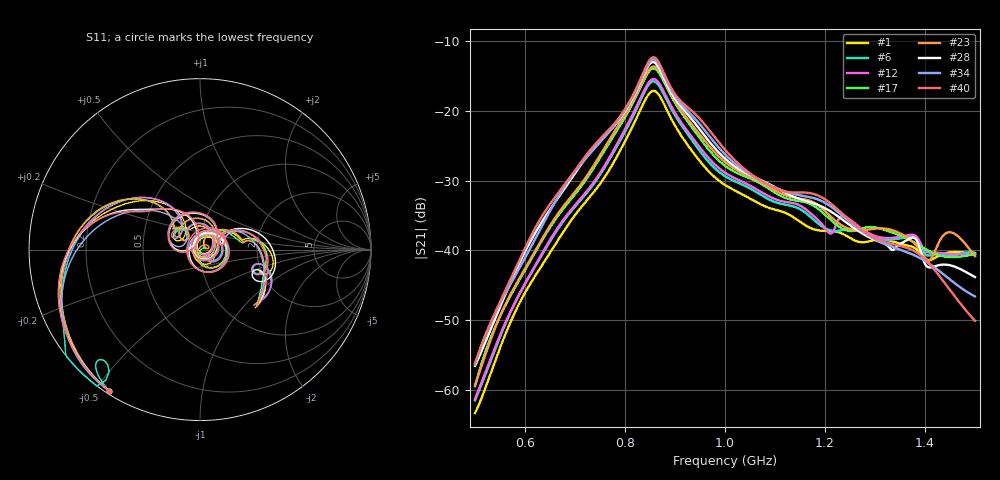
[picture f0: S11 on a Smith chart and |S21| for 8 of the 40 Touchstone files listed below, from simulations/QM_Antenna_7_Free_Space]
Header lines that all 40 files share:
! TOUCHSTONE file generated by CST MICROWAVE STUDIO
! Project name: Scenario_1_Free_Space_out_of_line.cst
! Header version: 2018
! Port assignment regex: !\s*Touchstone port\s*([0-9]+)\s*=\s*(CST MWS port|CST DS port)\s*([0-9]+|Zmin|Zmax)\s*\(\"(.*)\"\)(\s*mode\s*([0-9]+))?.*
! Touchstone port assignment:
! Touchstone port 1 = CST MWS port 1 ("")
! Touchstone port 2 = CST MWS port 2 ("")
# GHz S DB R 50
Fixed: Lambda = 346.42, Step_1 = 17.321, L_HA = 400, MT = 2.54, Rad_Dielectric = 30, Rad_Lower = 7.3, Rad_Upper = 30, a_HA = 580, a_WG = 246, b_HA = 500, b_WG = 121, c_HA = 0, c_WG = 187, d_feed = 85, h_feed = 15, h_lower = 18, h_upper = 40
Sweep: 500 MHz to 1.5 GHz
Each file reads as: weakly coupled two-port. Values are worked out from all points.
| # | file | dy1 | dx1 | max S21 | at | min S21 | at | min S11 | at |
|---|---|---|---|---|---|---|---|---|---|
| 1 | 12_4.s2p | 156.889 | 693 | -17.11 dB | 857 MHz | -63.3 dB | 500 MHz | -39.9 dB | 920 MHz |
| 2 | 12_5.s2p | 156.889 | 866 | -17.83 dB | 857 MHz | -63.8 dB | 500 MHz | -44.7 dB | 917 MHz |
| 3 | 12_6.s2p | 156.889 | 1039 | -18.25 dB | 858 MHz | -64.3 dB | 500 MHz | -50.5 dB | 914 MHz |
| 4 | 13_1.s2p | 139.548 | 173 | -15.31 dB | 854 MHz | -57.9 dB | 500 MHz | -34.5 dB | 926 MHz |
| 5 | 13_2.s2p | 139.548 | 346 | -14.75 dB | 856 MHz | -59.9 dB | 500 MHz | -34.1 dB | 1.156 GHz |
| 6 | 13_3.s2p | 139.548 | 520 | -15.74 dB | 857 MHz | -61.5 dB | 500 MHz | -35.1 dB | 923 MHz |
| 7 | 13_4.s2p | 139.548 | 693 | -16.98 dB | 861 MHz | -62.9 dB | 500 MHz | -40.0 dB | 921 MHz |
| 8 | 13_5.s2p | 139.548 | 866 | -17.76 dB | 857 MHz | -63.7 dB | 504 MHz | -45.2 dB | 918 MHz |
| 9 | 13_6.s2p | 139.548 | 1039 | -18.27 dB | 857 MHz | -64.1 dB | 500 MHz | -52.0 dB | 916 MHz |
| 10 | 14_1.s2p | 122.207 | 173 | -14.61 dB | 856 MHz | -57.5 dB | 500 MHz | -32.8 dB | 929 MHz |
| 11 | 14_2.s2p | 122.207 | 346 | -14.33 dB | 857 MHz | -59.7 dB | 500 MHz | -31.4 dB | 1.156 GHz |
| 12 | 14_3.s2p | 122.207 | 520 | -15.42 dB | 857 MHz | -61.3 dB | 500 MHz | -34.5 dB | 924 MHz |
| 13 | 14_4.s2p | 122.207 | 693 | -16.72 dB | 858 MHz | -62.7 dB | 500 MHz | -31.8 dB | 1.022 GHz |
| 14 | 14_5.s2p | 122.207 | 866 | -17.70 dB | 858 MHz | -63.5 dB | 500 MHz | -44.3 dB | 918 MHz |
| 15 | 14_6.s2p | 122.207 | 1039 | -18.32 dB | 858 MHz | -64.0 dB | 500 MHz | -53.2 dB | 1.145 GHz |
| 16 | 15_1.s2p | 104.866 | 173 | -13.98 dB | 856 MHz | -57.2 dB | 500 MHz | -31.1 dB | 932 MHz |
| 17 | 15_2.s2p | 104.866 | 346 | -13.91 dB | 857 MHz | -59.5 dB | 500 MHz | -47.1 dB | 1.104 GHz |
| 18 | 15_3.s2p | 104.866 | 520 | -15.16 dB | 858 MHz | -61.2 dB | 500 MHz | -34.6 dB | 926 MHz |
| 19 | 15_4.s2p | 104.866 | 693 | -16.55 dB | 857 MHz | -62.6 dB | 500 MHz | -40.3 dB | 929 MHz |
| 20 | 15_5.s2p | 104.866 | 866 | -17.69 dB | 862 MHz | -63.8 dB | 508 MHz | -44.6 dB | 920 MHz |
| 21 | 15_6.s2p | 104.866 | 1039 | -18.37 dB | 857 MHz | -64.3 dB | 507 MHz | -54.4 dB | 1.143 GHz |
| 22 | 16_1.s2p | 87.525 | 173 | -13.47 dB | 856 MHz | -56.9 dB | 500 MHz | -29.7 dB | 935 MHz |
| 23 | 16_2.s2p | 87.525 | 346 | -13.62 dB | 858 MHz | -59.3 dB | 500 MHz | -41.1 dB | 1.103 GHz |
| 24 | 16_3.s2p | 87.525 | 520 | -14.90 dB | 857 MHz | -61.1 dB | 500 MHz | -33.9 dB | 928 MHz |
| 25 | 16_4.s2p | 87.525 | 693 | -16.35 dB | 857 MHz | -62.5 dB | 500 MHz | -39.2 dB | 925 MHz |
| 26 | 16_5.s2p | 87.525 | 866 | -17.62 dB | 861 MHz | -63.3 dB | 500 MHz | -47.0 dB | 921 MHz |
| 27 | 16_6.s2p | 87.525 | 1039 | -18.43 dB | 857 MHz | -63.8 dB | 500 MHz | -62.2 dB | 918 MHz |
| 28 | 17_1.s2p | 70.184 | 173 | -12.99 dB | 856 MHz | -56.5 dB | 500 MHz | -28.1 dB | 938 MHz |
| 29 | 17_2.s2p | 70.184 | 346 | -13.35 dB | 857 MHz | -59.2 dB | 500 MHz | -38.9 dB | 1.106 GHz |
| 30 | 17_3.s2p | 70.184 | 520 | -14.66 dB | 858 MHz | -61.0 dB | 500 MHz | -34.6 dB | 928 MHz |
| 31 | 17_4.s2p | 70.184 | 693 | -16.19 dB | 857 MHz | -62.4 dB | 500 MHz | -39.2 dB | 926 MHz |
| 32 | 17_5.s2p | 70.184 | 866 | -17.55 dB | 861 MHz | -63.2 dB | 500 MHz | -48.0 dB | 922 MHz |
| 33 | 17_6.s2p | 70.184 | 1039 | -18.48 dB | 858 MHz | -63.7 dB | 500 MHz | -60.4 dB | 918 MHz |
| 34 | 18_1.s2p | 52.843 | 173 | -12.62 dB | 857 MHz | -56.4 dB | 500 MHz | -26.6 dB | 939 MHz |
| 35 | 18_2.s2p | 52.843 | 346 | -13.10 dB | 858 MHz | -59.5 dB | 500 MHz | -34.8 dB | 1.107 GHz |
| 36 | 18_3.s2p | 52.843 | 520 | -14.45 dB | 857 MHz | -61.0 dB | 500 MHz | -33.4 dB | 931 MHz |
| 37 | 18_4.s2p | 52.843 | 693 | -16.10 dB | 862 MHz | -62.4 dB | 500 MHz | -39.6 dB | 926 MHz |
| 38 | 18_5.s2p | 52.843 | 866 | -17.50 dB | 862 MHz | -63.2 dB | 500 MHz | -47.5 dB | 921 MHz |
| 39 | 18_6.s2p | 52.843 | 1039 | -18.55 dB | 857 MHz | -63.6 dB | 500 MHz | -68.5 dB | 1.145 GHz |
| 40 | 19_1.s2p | 35.502 | 173 | -12.30 dB | 857 MHz | -56.2 dB | 500 MHz | -29.1 dB | 745 MHz |
